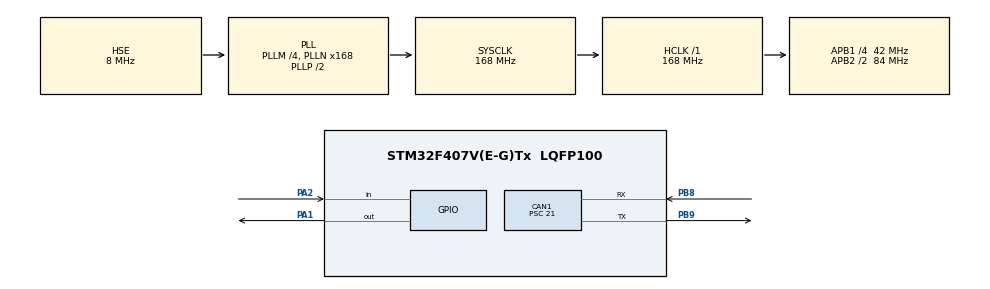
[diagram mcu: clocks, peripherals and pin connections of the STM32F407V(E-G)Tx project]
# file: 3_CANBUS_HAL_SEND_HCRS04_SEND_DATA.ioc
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CAN1.BS1=CAN_BS1_10TQ
CAN1.BS2=CAN_BS2_5TQ
CAN1.CalculateBaudRate=125000
CAN1.CalculateTimeBit=8000
CAN1.CalculateTimeQuantum=500.0
CAN1.Prescaler=21
Mcu.Family=STM32F4
Mcu.Name=STM32F407V(E-G)Tx
Mcu.Package=LQFP100
NVIC.PriorityGroup=NVIC_PRIORITYGROUP_4
PA1.Signal=GPIO_Output
PA2.Signal=GPIO_Input
PB8.Mode=CAN_Activate
PB8.Signal=CAN1_RX
PB9.Mode=CAN_Activate
PB9.Signal=CAN1_TX
PH0-OSC_IN.Mode=HSE-External-Oscillator
PH0-OSC_IN.Signal=RCC_OSC_IN
PH1-OSC_OUT.Mode=HSE-External-Oscillator
PH1-OSC_OUT.Signal=RCC_OSC_OUT
ProjectManager.HeapSize=0x200
ProjectManager.StackSize=0x400
ProjectManager.TargetToolchain=STM32CubeIDE
RCC.48MHZClocksFreq_Value=84000000
RCC.AHBFreq_Value=168000000
RCC.APB1CLKDivider=RCC_HCLK_DIV4
RCC.APB1Freq_Value=42000000
RCC.APB1TimFreq_Value=84000000
RCC.APB2CLKDivider=RCC_HCLK_DIV2
RCC.APB2Freq_Value=84000000
RCC.APB2TimFreq_Value=168000000
RCC.CortexFreq_Value=168000000
RCC.HCLKFreq_Value=168000000
RCC.HSE_VALUE=8000000
RCC.HSI_VALUE=16000000
RCC.LSE_VALUE=32768
RCC.PLLM=4
RCC.PLLN=168
RCC.PLLSourceVirtual=RCC_PLLSOURCE_HSE
RCC.SYSCLKFreq_VALUE=168000000
RCC.SYSCLKSource=RCC_SYSCLKSOURCE_PLLCLK
RCC.VCOOutputFreq_Value=336000000
board=custom

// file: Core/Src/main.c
/* USER CODE BEGIN Header */
/**
  ******************************************************************************
  * @file           : main.c
  * @brief          : Main program body
  ******************************************************************************
  * @attention
  *
  * Copyright (c) 2022 STMicroelectronics.
  * All rights reserved.
  *
  * This software is licensed under terms that can be found in the LICENSE file
  * in the root directory of this software component.
  * If no LICENSE file comes with this software, it is provided AS-IS.
  *
  ******************************************************************************
  */
/* USER CODE END Header */
#include "main.h"

/* USER CODE BEGIN Includes */
#include "dwt_stm32_delay.h"
/* USER CODE END Includes */

 CAN_HandleTypeDef hcan1;

/* USER CODE BEGIN PV */
CAN_FilterTypeDef	sFilterConfig;
uint8_t sensor_time;
uint8_t distance[2];
CAN_TxHeaderTypeDef pTxHeader;
uint32_t mTxMailbox;
/* USER CODE END PV */

void SystemClock_Config(void);
static void MX_GPIO_Init(void);
static void MX_CAN1_Init(void);

/* USER CODE BEGIN 0 */

uint32_t read_RCSR04(){
	uint32_t local_time=0;

	HAL_GPIO_WritePin(GPIOA, GPIO_PIN_1, GPIO_PIN_SET);
	DWT_Delay_us(10);
	HAL_GPIO_WritePin(GPIOA, GPIO_PIN_1, GPIO_PIN_RESET);

	while(!(HAL_GPIO_ReadPin(GPIOA, GPIO_PIN_2)));

	while(HAL_GPIO_ReadPin(GPIOA, GPIO_PIN_2)){

		local_time ++;
		DWT_Delay_us(1);
	}
	return local_time*2;
}

/* USER CODE END 0 */

int main(void)
{

  /* MCU Configuration--------------------------------------------------------*/

  /* Reset of all peripherals, Initializes the Flash interface and the Systick. */
  HAL_Init();

  /* Configure the system clock */
  SystemClock_Config();

  /* Initialize all configured peripherals */
  MX_GPIO_Init();
  MX_CAN1_Init();
  /* USER CODE BEGIN 2 */
  DWT_Delay_Init();

  HAL_CAN_Start(&hcan1);

  pTxHeader.DLC=1;
  pTxHeader.IDE=CAN_ID_STD;
  pTxHeader.RTR=CAN_RTR_DATA;
  pTxHeader.StdId=0x0155;

  sFilterConfig.FilterBank=0;//0-13 FARKLI FILTER DEGER AZALDIKCA ONCELIK ARTAR
  sFilterConfig.FilterActivation=CAN_FILTER_ENABLE;
  sFilterConfig.FilterFIFOAssignment=CAN_FILTER_FIFO0;
  sFilterConfig.FilterIdHigh=0x0150 << 5; // EXTENTED ID OLSAYDI >>13 //
  sFilterConfig.FilterIdLow=0x0070;   // 0XFF0  | CAN_IDE_32 ; EXTENTED DA AŞAĞIYIDA FİLTERLER
  sFilterConfig.FilterMaskIdHigh=0xFFF0; // 0x0150 << 5; 0150-015F // EXTENTED ID OLSAYDI >>13 //
  sFilterConfig.FilterMaskIdLow=0x0FF0 ; // 0070-007F 			// 0XFF0  | CAN_IDE_32 ; EXTENTED DA AŞAĞIYIDA FİLTERLER
  sFilterConfig.FilterMode=CAN_FILTERMODE_IDMASK; // IDLIST SADECE MASKTAKI VE FILTERDAKI ID LER 4*14=56 ID FILTRELENIR
  sFilterConfig.FilterScale=CAN_FILTERSCALE_16BIT;

  HAL_CAN_ConfigFilter(&hcan1,&sFilterConfig );

  /* USER CODE END 2 */

  /* Infinite loop */
  while (1)
  {

    /* USER CODE BEGIN 3 */
	  sensor_time = read_RCSR04();
	  distance[0]=sensor_time/58;
	  HAL_CAN_AddTxMessage(&hcan1, &pTxHeader, (uint8_t*)distance, mTxMailbox);
  }
  /* USER CODE END 3 */
}

void SystemClock_Config(void)
{
  RCC_OscInitTypeDef RCC_OscInitStruct = {0};
  RCC_ClkInitTypeDef RCC_ClkInitStruct = {0};

  /** Configure the main internal regulator output voltage
  */
  __HAL_RCC_PWR_CLK_ENABLE();
  __HAL_PWR_VOLTAGESCALING_CONFIG(PWR_REGULATOR_VOLTAGE_SCALE1);

  /** Initializes the RCC Oscillators according to the specified parameters
  * in the RCC_OscInitTypeDef structure.
  */
  RCC_OscInitStruct.OscillatorType = RCC_OSCILLATORTYPE_HSE;
  RCC_OscInitStruct.HSEState = RCC_HSE_ON;
  RCC_OscInitStruct.PLL.PLLState = RCC_PLL_ON;
  RCC_OscInitStruct.PLL.PLLSource = RCC_PLLSOURCE_HSE;
  RCC_OscInitStruct.PLL.PLLM = 4;
  RCC_OscInitStruct.PLL.PLLN = 168;
  RCC_OscInitStruct.PLL.PLLP = RCC_PLLP_DIV2;
  RCC_OscInitStruct.PLL.PLLQ = 4;
  if (HAL_RCC_OscConfig(&RCC_OscInitStruct) != HAL_OK)
  {
    Error_Handler();
  }

  /** Initializes the CPU, AHB and APB buses clocks
  */
  RCC_ClkInitStruct.ClockType = RCC_CLOCKTYPE_HCLK|RCC_CLOCKTYPE_SYSCLK
                              |RCC_CLOCKTYPE_PCLK1|RCC_CLOCKTYPE_PCLK2;
  RCC_ClkInitStruct.SYSCLKSource = RCC_SYSCLKSOURCE_PLLCLK;
  RCC_ClkInitStruct.AHBCLKDivider = RCC_SYSCLK_DIV1;
  RCC_ClkInitStruct.APB1CLKDivider = RCC_HCLK_DIV4;
  RCC_ClkInitStruct.APB2CLKDivider = RCC_HCLK_DIV2;

  if (HAL_RCC_ClockConfig(&RCC_ClkInitStruct, FLASH_LATENCY_5) != HAL_OK)
  {
    Error_Handler();
  }
}

static void MX_CAN1_Init(void)
{

  hcan1.Instance = CAN1;
  hcan1.Init.Prescaler = 21;
  hcan1.Init.Mode = CAN_MODE_NORMAL;
  hcan1.Init.SyncJumpWidth = CAN_SJW_1TQ;
  hcan1.Init.TimeSeg1 = CAN_BS1_10TQ;
  hcan1.Init.TimeSeg2 = CAN_BS2_5TQ;
  hcan1.Init.TimeTriggeredMode = DISABLE;
  hcan1.Init.AutoBusOff = DISABLE;
  hcan1.Init.AutoWakeUp = DISABLE;
  hcan1.Init.AutoRetransmission = DISABLE;
  hcan1.Init.ReceiveFifoLocked = DISABLE;
  hcan1.Init.TransmitFifoPriority = DISABLE;
  if (HAL_CAN_Init(&hcan1) != HAL_OK)
  {
    Error_Handler();
  }

}

static void MX_GPIO_Init(void)
{
  GPIO_InitTypeDef GPIO_InitStruct = {0};

  /* GPIO Ports Clock Enable */
  __HAL_RCC_GPIOH_CLK_ENABLE();
  __HAL_RCC_GPIOA_CLK_ENABLE();
  __HAL_RCC_GPIOB_CLK_ENABLE();

  /*Configure GPIO pin Output Level */
  HAL_GPIO_WritePin(GPIOA, GPIO_PIN_1, GPIO_PIN_RESET);

  /*Configure GPIO pin : PA1 */
  GPIO_InitStruct.Pin = GPIO_PIN_1;
  GPIO_InitStruct.Mode = GPIO_MODE_OUTPUT_PP;
  GPIO_InitStruct.Pull = GPIO_NOPULL;
  GPIO_InitStruct.Speed = GPIO_SPEED_FREQ_LOW;
  HAL_GPIO_Init(GPIOA, &GPIO_InitStruct);

  /*Configure GPIO pin : PA2 */
  GPIO_InitStruct.Pin = GPIO_PIN_2;
  GPIO_InitStruct.Mode = GPIO_MODE_INPUT;
  GPIO_InitStruct.Pull = GPIO_NOPULL;
  HAL_GPIO_Init(GPIOA, &GPIO_InitStruct);

}

void Error_Handler(void)
{
  __disable_irq();
  while (1)
  {
  }
}
